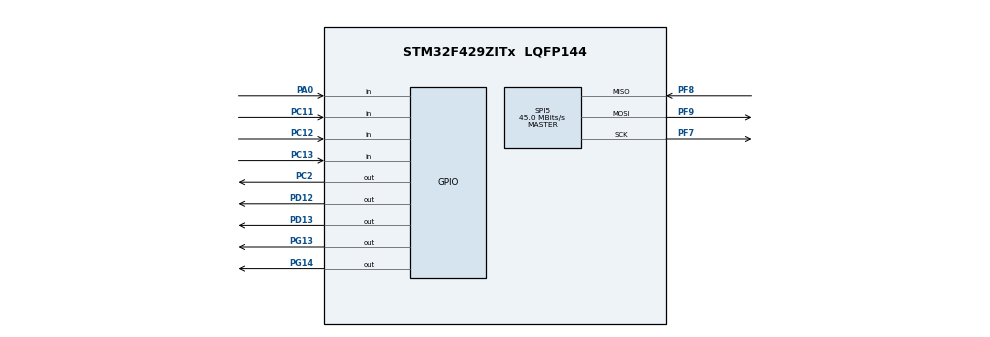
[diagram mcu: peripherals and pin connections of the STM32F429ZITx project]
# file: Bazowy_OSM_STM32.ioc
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Dma.Request0=SPI5_TX
Dma.SPI5_TX.0.Direction=DMA_MEMORY_TO_PERIPH
Dma.SPI5_TX.0.FIFOMode=DMA_FIFOMODE_DISABLE
Dma.SPI5_TX.0.Instance=DMA2_Stream4
Dma.SPI5_TX.0.MemDataAlignment=DMA_MDATAALIGN_BYTE
Dma.SPI5_TX.0.MemInc=DMA_MINC_ENABLE
Dma.SPI5_TX.0.Mode=DMA_CIRCULAR
Dma.SPI5_TX.0.PeriphDataAlignment=DMA_PDATAALIGN_BYTE
Dma.SPI5_TX.0.PeriphInc=DMA_PINC_DISABLE
Dma.SPI5_TX.0.Priority=DMA_PRIORITY_LOW
FREERTOS.BinarySemaphores01=BinarySem01,Dynamic,NULL
FREERTOS.Tasks01=LCD_Task,8,128,StartLCDTask,Default,NULL,Dynamic,NULL,NULL;LED1_task,24,128,StartTaskLED1,Default,NULL,Dynamic,NULL,NULL;LED2_tack,26,128,StartTaskLED2,Default,NULL,Dynamic,NULL,NULL;myTask04,33,256,StartTask04,Default,NULL,Dynamic,NULL,NULL;myTask05,9,256,StartTask05,Default,NULL,Dynamic,NULL,NULL
FREERTOS.configUSE_NEWLIB_REENTRANT=1
Mcu.Family=STM32F4
Mcu.Name=STM32F429ZITx
Mcu.Package=LQFP144
NVIC.DMA2_Stream4_IRQn=true\:5\:0\:false\:false\:true\:true\:false\:true\:true
NVIC.PriorityGroup=NVIC_PRIORITYGROUP_4
PA0/WKUP.Signal=GPIO_Input
PA13.Mode=Serial_Wire
PA13.Signal=SYS_JTMS-SWDIO
PA14.Mode=Serial_Wire
PA14.Signal=SYS_JTCK-SWCLK
PC11.GPIO_PuPd=GPIO_PULLUP
PC11.Signal=GPIO_Input
PC12.GPIO_PuPd=GPIO_PULLUP
PC12.Signal=GPIO_Input
PC13.GPIO_PuPd=GPIO_PULLUP
PC13.Signal=GPIO_Input
PC2.GPIO_Speed=GPIO_SPEED_FREQ_VERY_HIGH
PC2.Signal=GPIO_Output
PD12.GPIO_Speed=GPIO_SPEED_FREQ_VERY_HIGH
PD12.Signal=GPIO_Output
PD13.GPIO_Speed=GPIO_SPEED_FREQ_VERY_HIGH
PD13.Signal=GPIO_Output
PF7.Mode=Full_Duplex_Master
PF7.Signal=SPI5_SCK
PF8.Mode=Full_Duplex_Master
PF8.Signal=SPI5_MISO
PF9.Mode=Full_Duplex_Master
PF9.Signal=SPI5_MOSI
PG13.Signal=GPIO_Output
PG14.Signal=GPIO_Output
PH0/OSC_IN.Mode=HSE-External-Oscillator
PH0/OSC_IN.Signal=RCC_OSC_IN
PH1/OSC_OUT.Mode=HSE-External-Oscillator
PH1/OSC_OUT.Signal=RCC_OSC_OUT
ProjectManager.HeapSize=0x200
ProjectManager.StackSize=0x400
ProjectManager.TargetToolchain=STM32CubeIDE
RCC.48MHZClocksFreq_Value=45000000
RCC.AHBFreq_Value=180000000
RCC.APB1CLKDivider=RCC_HCLK_DIV4
RCC.APB1Freq_Value=45000000
RCC.APB1TimFreq_Value=90000000
RCC.APB2CLKDivider=RCC_HCLK_DIV2
RCC.APB2Freq_Value=90000000
RCC.APB2TimFreq_Value=180000000
RCC.CortexFreq_Value=180000000
RCC.HCLKFreq_Value=180000000
RCC.HSE_VALUE=8000000
RCC.HSI_VALUE=16000000
RCC.LSE_VALUE=32768
RCC.PLLM=4
RCC.PLLN=180
RCC.PLLQ=8
RCC.PLLSourceVirtual=RCC_PLLSOURCE_HSE
RCC.SYSCLKFreq_VALUE=180000000
RCC.SYSCLKSource=RCC_SYSCLKSOURCE_PLLCLK
RCC.VCOOutputFreq_Value=360000000
SPI5.BaudRatePrescaler=SPI_BAUDRATEPRESCALER_2
SPI5.CalculateBaudRate=45.0 MBits/s
SPI5.Direction=SPI_DIRECTION_2LINES
SPI5.Mode=SPI_MODE_MASTER
SPI5.VirtualType=VM_MASTER
VP_FREERTOS_VS_CMSIS_V2.Mode=CMSIS_V2
VP_RNG_VS_RNG.Mode=RNG_Activate
board=custom

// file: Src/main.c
/* USER CODE BEGIN Header */
/**
  ******************************************************************************
  * @file           : main.c
  * @brief          : Main program body
  ******************************************************************************
  * @attention
  *
  * <h2><center>&copy; Copyright (c) 2020 STMicroelectronics.
  * All rights reserved.</center></h2>
  *
  * This software component is licensed by ST under BSD 3-Clause license,
  * the "License"; You may not use this file except in compliance with the
  * License. You may obtain a copy of the License at:
  *                        opensource.org/licenses/BSD-3-Clause
  *
  ******************************************************************************
  */
/* USER CODE END Header */
#include "main.h"
#include "cmsis_os.h"

/* USER CODE BEGIN Includes */
#include "ll_spi_ili9341.h"
#include "myfunctions.h"
#include "reg2.h"
/* USER CODE END Includes */

/* USER CODE BEGIN PM */
PID_s pid;
Inercja_s in3;
Inercja_s in4;
float tp = 0.1;
/* USER CODE END PM */

/* Definitions for LCD_Task */
osThreadId_t LCD_TaskHandle;
const osThreadAttr_t LCD_Task_attributes = {
  .name = "LCD_Task",
  .stack_size = 128 * 4,
  .priority = (osPriority_t) osPriorityLow,
};
/* Definitions for LED1_task */
osThreadId_t LED1_taskHandle;
const osThreadAttr_t LED1_task_attributes = {
  .name = "LED1_task",
  .stack_size = 128 * 4,
  .priority = (osPriority_t) osPriorityNormal,
};
/* Definitions for LED2_tack */
osThreadId_t LED2_tackHandle;
const osThreadAttr_t LED2_tack_attributes = {
  .name = "LED2_tack",
  .stack_size = 128 * 4,
  .priority = (osPriority_t) osPriorityNormal2,
};
/* Definitions for myTask04 */
osThreadId_t myTask04Handle;
const osThreadAttr_t myTask04_attributes = {
  .name = "myTask04",
  .stack_size = 256 * 4,
  .priority = (osPriority_t) osPriorityAboveNormal1,
};
/* Definitions for myTask05 */
osThreadId_t myTask05Handle;
const osThreadAttr_t myTask05_attributes = {
  .name = "myTask05",
  .stack_size = 256 * 4,
  .priority = (osPriority_t) osPriorityLow1,
};
/* Definitions for BinarySem01 */
osSemaphoreId_t BinarySem01Handle;
const osSemaphoreAttr_t BinarySem01_attributes = {
  .name = "BinarySem01"
};
/* USER CODE BEGIN PV */
uint8_t DmaSpiCnt=1;

int x = 120, y = 160; // Skladowe x,y polozenia kwadratu
int x_old = 120, y_old = 160;
int dx = 1, dy = 1; // Skladowe wektora predkosci dx, dy

unsigned char *ptr;
unsigned char napis[] = {"Press the blue button..."};
int dl_n = 24;
unsigned int nx = 0;
unsigned int ny = 280;
unsigned int  key;

/* USER CODE END PV */

void SystemClock_Config(void);
static void MX_GPIO_Init(void);
static void MX_DMA_Init(void);
static void MX_RNG_Init(void);
static void MX_SPI5_Init(void);
void StartLCDTask(void *argument);
void StartTaskLED1(void *argument);
void StartTaskLED2(void *argument);
void StartTask04(void *argument);
void StartTask05(void *argument);

/* USER CODE BEGIN PFP */
void move_square_C(void);

/* USER CODE END PFP */

/* USER CODE BEGIN 0 */
void move_square_C(){
//Aktualizacja po│ozenia na podstawie wektora predkosci
		x+=dx;
		y+=dy;
//Ograniczenie obszaru poruszania kwadratem w obrebie LCD
		if (x <= 1 || x >= 240 - 34)
			dx = -dx;
		if (y <= 1 || y >= 320 - 34)
			dy = -dy;
}

/* USER CODE END 0 */

int main(void)
{
  /* USER CODE BEGIN 1 */
	ptr = napis;
  /* USER CODE END 1 */

  /* MCU Configuration--------------------------------------------------------*/

  /* Reset of all peripherals, Initializes the Flash interface and the Systick. */

  LL_APB2_GRP1_EnableClock(LL_APB2_GRP1_PERIPH_SYSCFG);
  LL_APB1_GRP1_EnableClock(LL_APB1_GRP1_PERIPH_PWR);

  NVIC_SetPriorityGrouping(NVIC_PRIORITYGROUP_4);

  /* System interrupt init*/
  /* PendSV_IRQn interrupt configuration */
  NVIC_SetPriority(PendSV_IRQn, NVIC_EncodePriority(NVIC_GetPriorityGrouping(),15, 0));
  /* SysTick_IRQn interrupt configuration */
  NVIC_SetPriority(SysTick_IRQn, NVIC_EncodePriority(NVIC_GetPriorityGrouping(),15, 0));

  /* Configure the system clock */
  SystemClock_Config();

  /* Initialize all configured peripherals */
  MX_GPIO_Init();
  MX_DMA_Init();
  MX_RNG_Init();
  MX_SPI5_Init();
  /* USER CODE BEGIN 2 */
  LL_DMA_DisableStream(DMA2, LL_DMA_STREAM_4);
  LL_DMA_ClearFlag_TC4(DMA2);
  LL_DMA_ClearFlag_TE4(DMA2);
  LL_SPI_EnableDMAReq_TX(SPI5);
  LL_DMA_EnableIT_TC(DMA2, LL_DMA_STREAM_4);
  LL_DMA_EnableIT_TE(DMA2, LL_DMA_STREAM_4);
  LL_SPI_Enable(SPI5);

  /* USER CODE END 2 */

  /* Init scheduler */
  osKernelInitialize();

  /* Create the semaphores(s) */
  /* creation of BinarySem01 */
  BinarySem01Handle = osSemaphoreNew(1, 1, &BinarySem01_attributes);

  /* Create the thread(s) */
  /* creation of LCD_Task */
  LCD_TaskHandle = osThreadNew(StartLCDTask, NULL, &LCD_Task_attributes);

  /* creation of LED1_task */
  LED1_taskHandle = osThreadNew(StartTaskLED1, NULL, &LED1_task_attributes);

  /* creation of LED2_tack */
  LED2_tackHandle = osThreadNew(StartTaskLED2, NULL, &LED2_tack_attributes);

  /* creation of myTask04 */
  myTask04Handle = osThreadNew(StartTask04, NULL, &myTask04_attributes);

  /* creation of myTask05 */
  myTask05Handle = osThreadNew(StartTask05, NULL, &myTask05_attributes);

  /* Start scheduler */
  osKernelStart();

  /* We should never get here as control is now taken by the scheduler */
  /* Infinite loop */
  while (1)
  {

  }
}

void SystemClock_Config(void)
{
  LL_FLASH_SetLatency(LL_FLASH_LATENCY_5);
  while(LL_FLASH_GetLatency()!= LL_FLASH_LATENCY_5)
  {
  }
  LL_PWR_SetRegulVoltageScaling(LL_PWR_REGU_VOLTAGE_SCALE1);
  LL_PWR_EnableOverDriveMode();
  LL_RCC_HSE_Enable();

   /* Wait till HSE is ready */
  while(LL_RCC_HSE_IsReady() != 1)
  {

  }
  LL_RCC_PLL_ConfigDomain_SYS(LL_RCC_PLLSOURCE_HSE, LL_RCC_PLLM_DIV_4, 180, LL_RCC_PLLP_DIV_2);
  LL_RCC_PLL_ConfigDomain_48M(LL_RCC_PLLSOURCE_HSE, LL_RCC_PLLM_DIV_4, 180, LL_RCC_PLLQ_DIV_8);
  LL_RCC_PLL_Enable();

   /* Wait till PLL is ready */
  while(LL_RCC_PLL_IsReady() != 1)
  {

  }
  LL_RCC_SetAHBPrescaler(LL_RCC_SYSCLK_DIV_1);
  LL_RCC_SetAPB1Prescaler(LL_RCC_APB1_DIV_4);
  LL_RCC_SetAPB2Prescaler(LL_RCC_APB2_DIV_2);
  LL_RCC_SetSysClkSource(LL_RCC_SYS_CLKSOURCE_PLL);

   /* Wait till System clock is ready */
  while(LL_RCC_GetSysClkSource() != LL_RCC_SYS_CLKSOURCE_STATUS_PLL)
  {

  }
  LL_Init1msTick(180000000);
  LL_SetSystemCoreClock(180000000);
  LL_RCC_SetTIMPrescaler(LL_RCC_TIM_PRESCALER_TWICE);
}

static void MX_RNG_Init(void)
{

  /* Peripheral clock enable */
  LL_AHB2_GRP1_EnableClock(LL_AHB2_GRP1_PERIPH_RNG);

  LL_RNG_Enable(RNG);

}

static void MX_SPI5_Init(void)
{

  LL_SPI_InitTypeDef SPI_InitStruct = {0};

  LL_GPIO_InitTypeDef GPIO_InitStruct = {0};

  /* Peripheral clock enable */
  LL_APB2_GRP1_EnableClock(LL_APB2_GRP1_PERIPH_SPI5);

  LL_AHB1_GRP1_EnableClock(LL_AHB1_GRP1_PERIPH_GPIOF);
  /**SPI5 GPIO Configuration
  PF7   ------> SPI5_SCK
  PF8   ------> SPI5_MISO
  PF9   ------> SPI5_MOSI
  */
  GPIO_InitStruct.Pin = LL_GPIO_PIN_7|LL_GPIO_PIN_8|LL_GPIO_PIN_9;
  GPIO_InitStruct.Mode = LL_GPIO_MODE_ALTERNATE;
  GPIO_InitStruct.Speed = LL_GPIO_SPEED_FREQ_VERY_HIGH;
  GPIO_InitStruct.OutputType = LL_GPIO_OUTPUT_PUSHPULL;
  GPIO_InitStruct.Pull = LL_GPIO_PULL_NO;
  GPIO_InitStruct.Alternate = LL_GPIO_AF_5;
  LL_GPIO_Init(GPIOF, &GPIO_InitStruct);

  /* SPI5 DMA Init */

  /* SPI5_TX Init */
  LL_DMA_SetChannelSelection(DMA2, LL_DMA_STREAM_4, LL_DMA_CHANNEL_2);

  LL_DMA_SetDataTransferDirection(DMA2, LL_DMA_STREAM_4, LL_DMA_DIRECTION_MEMORY_TO_PERIPH);

  LL_DMA_SetStreamPriorityLevel(DMA2, LL_DMA_STREAM_4, LL_DMA_PRIORITY_LOW);

  LL_DMA_SetMode(DMA2, LL_DMA_STREAM_4, LL_DMA_MODE_CIRCULAR);

  LL_DMA_SetPeriphIncMode(DMA2, LL_DMA_STREAM_4, LL_DMA_PERIPH_NOINCREMENT);

  LL_DMA_SetMemoryIncMode(DMA2, LL_DMA_STREAM_4, LL_DMA_MEMORY_INCREMENT);

  LL_DMA_SetPeriphSize(DMA2, LL_DMA_STREAM_4, LL_DMA_PDATAALIGN_BYTE);

  LL_DMA_SetMemorySize(DMA2, LL_DMA_STREAM_4, LL_DMA_MDATAALIGN_BYTE);

  LL_DMA_DisableFifoMode(DMA2, LL_DMA_STREAM_4);

  /* SPI5 parameter configuration*/
  SPI_InitStruct.TransferDirection = LL_SPI_FULL_DUPLEX;
  SPI_InitStruct.Mode = LL_SPI_MODE_MASTER;
  SPI_InitStruct.DataWidth = LL_SPI_DATAWIDTH_8BIT;
  SPI_InitStruct.ClockPolarity = LL_SPI_POLARITY_LOW;
  SPI_InitStruct.ClockPhase = LL_SPI_PHASE_1EDGE;
  SPI_InitStruct.NSS = LL_SPI_NSS_SOFT;
  SPI_InitStruct.BaudRate = LL_SPI_BAUDRATEPRESCALER_DIV2;
  SPI_InitStruct.BitOrder = LL_SPI_MSB_FIRST;
  SPI_InitStruct.CRCCalculation = LL_SPI_CRCCALCULATION_DISABLE;
  SPI_InitStruct.CRCPoly = 10;
  LL_SPI_Init(SPI5, &SPI_InitStruct);
  LL_SPI_SetStandard(SPI5, LL_SPI_PROTOCOL_MOTOROLA);

}

static void MX_DMA_Init(void)
{

  /* Init with LL driver */
  /* DMA controller clock enable */
  LL_AHB1_GRP1_EnableClock(LL_AHB1_GRP1_PERIPH_DMA2);

  /* DMA interrupt init */
  /* DMA2_Stream4_IRQn interrupt configuration */
  NVIC_SetPriority(DMA2_Stream4_IRQn, NVIC_EncodePriority(NVIC_GetPriorityGrouping(),5, 0));
  NVIC_EnableIRQ(DMA2_Stream4_IRQn);

}

static void MX_GPIO_Init(void)
{
  LL_GPIO_InitTypeDef GPIO_InitStruct = {0};

  /* GPIO Ports Clock Enable */
  LL_AHB1_GRP1_EnableClock(LL_AHB1_GRP1_PERIPH_GPIOC);
  LL_AHB1_GRP1_EnableClock(LL_AHB1_GRP1_PERIPH_GPIOF);
  LL_AHB1_GRP1_EnableClock(LL_AHB1_GRP1_PERIPH_GPIOH);
  LL_AHB1_GRP1_EnableClock(LL_AHB1_GRP1_PERIPH_GPIOA);
  LL_AHB1_GRP1_EnableClock(LL_AHB1_GRP1_PERIPH_GPIOD);
  LL_AHB1_GRP1_EnableClock(LL_AHB1_GRP1_PERIPH_GPIOG);

  /**/
  LL_GPIO_ResetOutputPin(GPIOC, LL_GPIO_PIN_2);

  /**/
  LL_GPIO_ResetOutputPin(GPIOD, LL_GPIO_PIN_12|LL_GPIO_PIN_13);

  /**/
  LL_GPIO_ResetOutputPin(GPIOG, LL_GPIO_PIN_13|LL_GPIO_PIN_14);

  /**/
  GPIO_InitStruct.Pin = LL_GPIO_PIN_13|LL_GPIO_PIN_11|LL_GPIO_PIN_12;
  GPIO_InitStruct.Mode = LL_GPIO_MODE_INPUT;
  GPIO_InitStruct.Pull = LL_GPIO_PULL_UP;
  LL_GPIO_Init(GPIOC, &GPIO_InitStruct);

  /**/
  GPIO_InitStruct.Pin = LL_GPIO_PIN_2;
  GPIO_InitStruct.Mode = LL_GPIO_MODE_OUTPUT;
  GPIO_InitStruct.Speed = LL_GPIO_SPEED_FREQ_VERY_HIGH;
  GPIO_InitStruct.OutputType = LL_GPIO_OUTPUT_PUSHPULL;
  GPIO_InitStruct.Pull = LL_GPIO_PULL_NO;
  LL_GPIO_Init(GPIOC, &GPIO_InitStruct);

  /**/
  GPIO_InitStruct.Pin = LL_GPIO_PIN_0;
  GPIO_InitStruct.Mode = LL_GPIO_MODE_INPUT;
  GPIO_InitStruct.Pull = LL_GPIO_PULL_NO;
  LL_GPIO_Init(GPIOA, &GPIO_InitStruct);

  /**/
  GPIO_InitStruct.Pin = LL_GPIO_PIN_12|LL_GPIO_PIN_13;
  GPIO_InitStruct.Mode = LL_GPIO_MODE_OUTPUT;
  GPIO_InitStruct.Speed = LL_GPIO_SPEED_FREQ_VERY_HIGH;
  GPIO_InitStruct.OutputType = LL_GPIO_OUTPUT_PUSHPULL;
  GPIO_InitStruct.Pull = LL_GPIO_PULL_NO;
  LL_GPIO_Init(GPIOD, &GPIO_InitStruct);

  /**/
  GPIO_InitStruct.Pin = LL_GPIO_PIN_13|LL_GPIO_PIN_14;
  GPIO_InitStruct.Mode = LL_GPIO_MODE_OUTPUT;
  GPIO_InitStruct.Speed = LL_GPIO_SPEED_FREQ_LOW;
  GPIO_InitStruct.OutputType = LL_GPIO_OUTPUT_PUSHPULL;
  GPIO_InitStruct.Pull = LL_GPIO_PULL_NO;
  LL_GPIO_Init(GPIOG, &GPIO_InitStruct);

}

/* USER CODE BEGIN 4 */
void DMA1_Stream4_TransferComplete(void)
{
  LL_DMA_ClearFlag_TC4(DMA2);
  DmaSpiCnt--;

  if(DmaSpiCnt == 0)
  {
    LL_DMA_DisableStream(DMA2, LL_DMA_STREAM_4);
    DmaSpiCnt=1;
    CS_DESELECT();
  }
}
/* USER CODE END 4 */

void StartLCDTask(void *argument)
{
  /* USER CODE BEGIN 5 */
	  TFTDisplay_ILI9341_Initialization(240, 320);
      TFTDisplay_ILI9341_SetRotation(2);

	  for (int i=0; i < dl_n; i++){
		  TFTDisplay_ILI9341_DrawChar (nx, ny, *ptr);
		  nx= nx +10;
		  ptr++;

	  }

	  TFTDisplay_ILI9341_DrawLine(0, 0, 240, 240, TFT_COLOR_ILI9341_RED);

	while(!(GPIOA -> IDR & 0x0001)) //sprawdzanie klawisza pod PA0
		{
		osDelay(2);					//aby nie blokować innych tasków
		}

  /* Infinite loop */
  for(;;)
  {
      for(int i=0; i< 10; i++)
        {
            TFTDisplay_ILI9341_DrawChar(100, 100, 0x30 + i);
            osDelay(1000);
        }

  }
  /* USER CODE END 5 */
}

void StartTaskLED1(void *argument)
{
  /* USER CODE BEGIN StartTaskLED1 */
  /* Infinite loop */
  for(;;)
  {

	  osSemaphoreAcquire(BinarySem01Handle, osWaitForever);  //synchronizacja tasków - zwolnienie w TaskLED2

	  LL_GPIO_TogglePin(GPIOG, LL_GPIO_PIN_13);

	  osDelay(100);
  }
  /* USER CODE END StartTaskLED1 */
}

void StartTaskLED2(void *argument)
{
  /* USER CODE BEGIN StartTaskLED2 */
  /* Infinite loop */
  for(;;)
  {

	  LL_GPIO_TogglePin(GPIOG, LL_GPIO_PIN_14);

	  osDelay(1000);
	  osSemaphoreRelease(BinarySem01Handle);	//zwolnienie semafora i odblokowanie TaskLED1

	  ;
  }
  /* USER CODE END StartTaskLED2 */
}

void StartTask04(void *argument)
{
  /* USER CODE BEGIN StartTask04 */
  /* Infinite loop */
  for(;;)
  {
    if(!(GPIOC -> IDR & 0x0800)){
        pid.expected += 0.1;
        TFTDisplay_ILI9341_DrawChar(100, 150, 0x31);
    }
    if(!(GPIOC -> IDR & 0x1000)){
        pid.expected -= 0.1;
        TFTDisplay_ILI9341_DrawChar(100, 150, 0x32);
    }
    if(!(GPIOC -> IDR & 0x2000)){

    }
    osDelay(10);
  }
  /* USER CODE END StartTask04 */
}

void StartTask05(void *argument)
{
  /* USER CODE BEGIN StartTask05 */
    PID_s_init(&pid, 10, 3, 0.9, tp);
    Inercja_s_init(&in3, 1, tp, 5);
    Inercja_s_init(&in4, 2, tp, 3);
    float expected = 0;
    float output = 0;
  /* Infinite loop */
  for(;;)
  {
    pid.expected = expected;
    pid.input = output;
    Reg_s_step(&pid);
    //output = pid.output;
    in3.input = pid.output;
    Inercja_s_step(&in3);
    in4.input = in3.output;
    Inercja_s_step(&in4);
    output =  in4.output;
    Draw_info((int)output, (int) expected, false);
    osDelay(50);
  }
  /* USER CODE END StartTask05 */
}

void Error_Handler(void)
{
}
